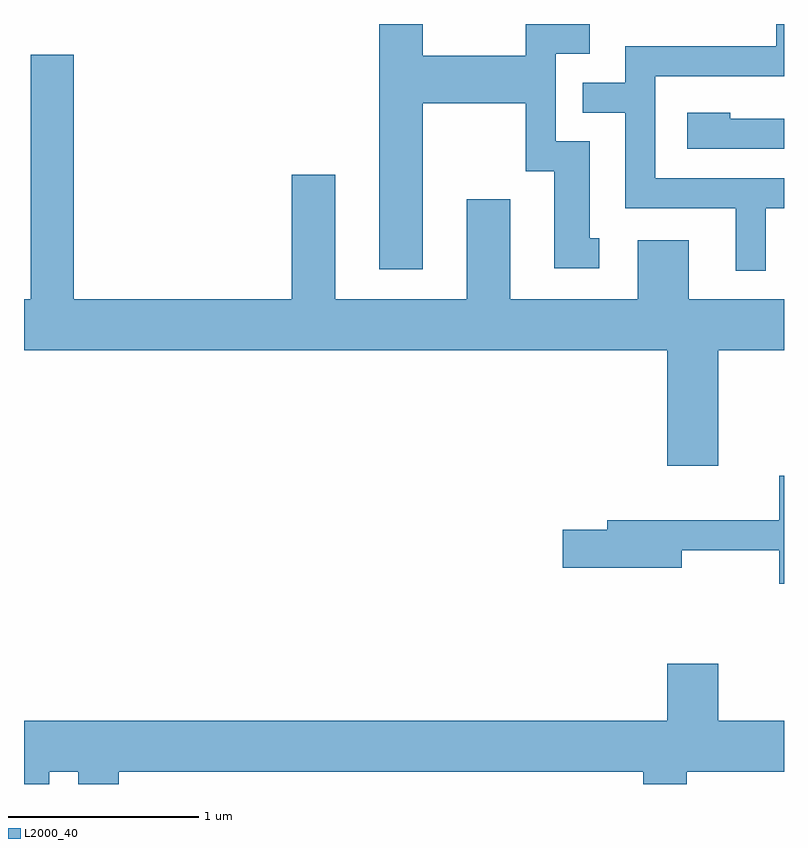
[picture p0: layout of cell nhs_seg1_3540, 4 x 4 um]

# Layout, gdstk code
import gdstk
lib = gdstk.Library(unit=1e-6, precision=1e-09)
def P(c, l, *ps):  # polygons
    for p in ps: c.add(gdstk.Polygon(p, *l))
L2000_40 = (2000, 40)

nhs_seg1_3540 = lib.new_cell('nhs_seg1_3540')
P(nhs_seg1_3540, L2000_40, [(293.709,925.296),(294.251,925.296),(294.251,924.936),(294.401,924.936),(294.401,924.426),(294.638,924.426),(294.638,924.584),(294.589,924.584),(294.589,925.094),(294.409,925.094),(294.409,925.556),(294.589,925.556),(294.589,925.712),(294.251,925.712),(294.251,925.544),(293.709,925.544),(293.709,925.712),(293.481,925.712),(293.481,924.421),(293.709,924.421)],
  [(295.514,924.741),(295.611,924.741),(295.611,924.899),(294.934,924.899),(294.934,925.436),(295.611,925.436),(295.611,925.712),(295.571,925.712),(295.571,925.594),(294.776,925.594),(294.776,925.404),(294.553,925.404),(294.553,925.246),(294.776,925.246),(294.776,924.741),(295.356,924.741),(295.356,924.413),(295.514,924.413)],
  [(295.264,923.996),(295.611,923.996),(295.611,924.264),(295.109,924.264),(295.109,924.574),(294.841,924.574),(294.841,924.264),(294.169,924.264),(294.169,924.789),(293.941,924.789),(293.941,924.264),(293.249,924.264),(293.249,924.919),(293.021,924.919),(293.021,924.264),(291.874,924.264),(291.874,925.549),(291.646,925.549),(291.646,924.264),(291.611,924.264),(291.611,923.996),(294.996,923.996),(294.996,923.386),(295.264,923.386)],
  [(295.611,925.214),(295.329,925.214),(295.329,925.244),(295.101,925.244),(295.101,925.056),(295.611,925.056)],
  [(295.611,923.334),(295.586,923.334),(295.586,923.099),(294.681,923.099),(294.681,923.049),(294.446,923.049),(294.446,922.851),(295.074,922.851),(295.074,922.941),(295.586,922.941),(295.586,922.766),(295.611,922.766)],
  [(291.744,921.776),(291.896,921.776),(291.896,921.712),(292.109,921.712),(292.109,921.776),(294.871,921.776),(294.871,921.712),(295.099,921.712),(295.099,921.776),(295.611,921.776),(295.611,922.044),(295.264,922.044),(295.264,922.344),(294.996,922.344),(294.996,922.044),(291.611,922.044),(291.611,921.712),(291.744,921.712)])

lib.write_gds('nhs_seg1_3540.gds')
